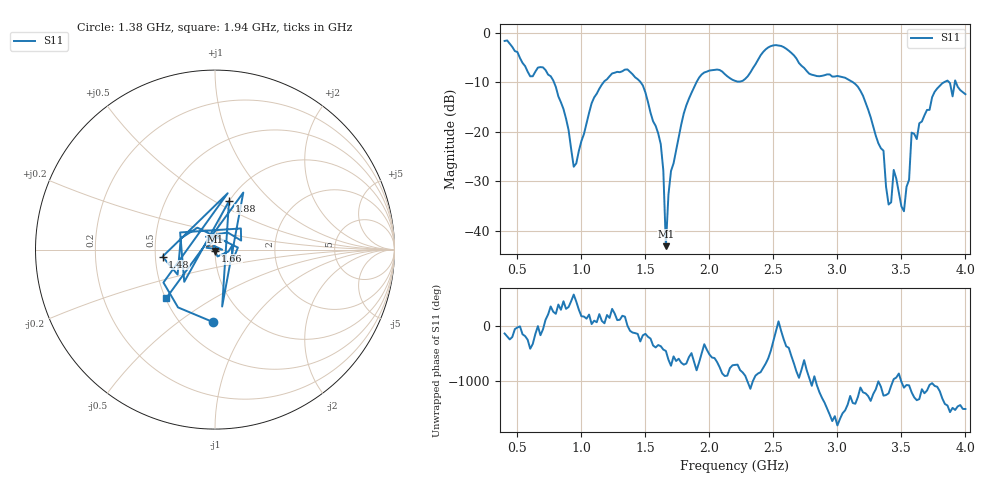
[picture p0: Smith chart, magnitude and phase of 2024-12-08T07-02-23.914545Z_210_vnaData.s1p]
!Created with skrf (http://scikit-rf.org).
# Hz S RI R 50.0
!freq ReS11 ImS11
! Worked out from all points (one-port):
!   181 points, 400 MHz to 4 GHz, reference 50 ohm
!   lowest |S11| = -43.1 dB at 1.66 GHz (marker M1), VSWR 1.01, Z = 49.9 - j0.698 ohm
!   |S11| at or under -10 dB: 786.3 MHz to 1.172 GHz (386 MHz wide, 39.4 % of centre); 1.464 GHz to 1.898 GHz (434.4 MHz wide, 25.8 % of centre); 3.124 GHz to 3.831 GHz (706.9 MHz wide, 20.3 % of centre) (the widest 3 of 5)
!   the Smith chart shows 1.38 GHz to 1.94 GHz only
!   S11 on the Smith chart (normalised r, x): 1.38 GHz: 0.71, -0.68; 1.48 GHz: 0.55, -0.05; 1.66 GHz: 1.00, -0.01; 1.88 GHz: 1.00, +0.59; 1.94 GHz: 0.51, -0.32
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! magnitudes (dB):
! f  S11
! 400 MHz  -1.6
! 600 MHz  -8.8
! 720 MHz  -7.5
! 860 MHz  -15.4
! 940 MHz  -27.0
! 1.1 GHz  -13.0
! 1.3 GHz  -7.9
! 1.38 GHz  -7.9
! 1.48 GHz  -10.6
! 1.62 GHz  -22.5
! 1.64 GHz  -27.8
! 1.66 GHz  -43.1
! 1.7 GHz  -27.9
! 1.76 GHz  -21.1
! 1.88 GHz  -11.0
! 1.94 GHz  -8.4
! 2.2 GHz  -9.7
! 2.48 GHz  -2.7
! 2.66 GHz  -4.5
! 3.1 GHz  -9.7
! 3.36 GHz  -23.8
! 3.4 GHz  -34.7
! 3.44 GHz  -27.7
! 3.52 GHz  -36.0
! 3.56 GHz  -29.7
! 3.58 GHz  -20.1
! 3.76 GHz  -11.9
! 4 GHz  -12.4
